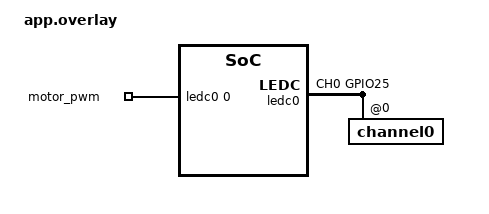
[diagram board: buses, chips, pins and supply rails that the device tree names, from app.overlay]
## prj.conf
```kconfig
CONFIG_PWM=y
CONFIG_GPIO=y
CONFIG_GPIO_ESP32=y        #interrupciones en ESP32
CONFIG_FPU=y
CONFIG_FPU_SHARING=y
CONFIG_JSON_LIBRARY=y	  #Json
CONFIG_UART_INTERRUPT_DRIVEN=y
```

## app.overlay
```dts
#include <zephyr/dt-bindings/pinctrl/esp32-pinctrl.h>

/ {
    aliases {
        pwm-led0 = &motor_pwm;
    };

    pwmleds {
        compatible = "pwm-leds";
        motor_pwm: motor_pwm {
            pwms = <&ledc0 0 100000 PWM_POLARITY_NORMAL>;
        };
    };
};

&pinctrl {
    ledc0_default: ledc0_default {
        group1 {
            /* Cambia GPIO25 al pin que usa tu motor */
            pinmux = <LEDC_CH0_GPIO25>;
            output-enable;
        };
    };
};

&ledc0 {
    status = "okay";
    pinctrl-0 = <&ledc0_default>;
    pinctrl-names = "default";

    #address-cells = <1>;
    #size-cells = <0>;

    /* ← Esto es lo que faltaba */
    channel0@0 {
        reg = <0x0>;
        timer = <0>;
    };
};
```

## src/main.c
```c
#include <zephyr/kernel.h>
#include <zephyr/device.h>
#include <zephyr/drivers/gpio.h>
#include <zephyr/drivers/pwm.h>
#include <zephyr/sys/printk.h>
#include <zephyr/sys/atomic.h>
#include <zephyr/data/json.h>
#include <zephyr/drivers/uart.h>
#include <stdint.h>
#include <math.h>
#include <stdlib.h>   // ← para atof()

// Pines
#define IN1 19 
#define IN2 18
#define PWM_PIN 25
#define ENCODER_A 26
#define ENCODER_B 27
#define PIN_SENSOR 4


// Alias para el PWM
#define PWM_NODE DT_ALIAS(pwm_led0)
static const struct pwm_dt_spec pwm_led = PWM_DT_SPEC_GET(PWM_NODE);

// Variables
atomic_t theta = ATOMIC_INIT(0);
K_MUTEX_DEFINE(pid_mutex); // Mutex para proteger acceso a Kp, Ki, Kd, sp, mode y button
int32_t sp = 30;

float pv = 0.0;
float cv = 0.0, cv1 = 0.0;
float error = 0.0, error1 = 0.0, error2 = 0.0;

float Kp = 2.0;
float Ki = 3.0;
float Kd = 0.0;

int mode = 0;   // 1: Velocidad, 0: Posición
int button = 0; // 0: Restart, 1: Start, 2: Stop

//Tiempo de muestreo
#define Tm_ms 5
#define Tm (Tm_ms / 1000.0f) //Segundos

// Dispositivos
const struct device *gpio_dev;

// Configuración
#define STACK_SIZE 2048

// Prioridades (menor número = mayor prioridad)
#define PRIORITY0 1
#define PRIORITY1 2
#define PRIORITY2 3

// Stacks
K_THREAD_STACK_DEFINE(PID_stack, STACK_SIZE);
K_THREAD_STACK_DEFINE(COMjson_stack, STACK_SIZE);
K_THREAD_STACK_DEFINE(SENSOR_stack, STACK_SIZE);

// Threads
struct k_thread pid_thread;
struct k_thread comjson_thread;
struct k_thread sensor_thread;

// Json
struct pid_config {
    const char *kp;
    const char *ki;
    const char *kd;
    const char *sp;
    int mode;
    int button;
};

static const struct json_obj_descr pid_descr[] = {
    JSON_OBJ_DESCR_PRIM(struct pid_config, kp, JSON_TOK_STRING),
    JSON_OBJ_DESCR_PRIM(struct pid_config, ki, JSON_TOK_STRING),
    JSON_OBJ_DESCR_PRIM(struct pid_config, kd, JSON_TOK_STRING),
    JSON_OBJ_DESCR_PRIM(struct pid_config, sp, JSON_TOK_STRING),
    JSON_OBJ_DESCR_PRIM(struct pid_config, mode, JSON_TOK_NUMBER),
    JSON_OBJ_DESCR_PRIM(struct pid_config, button, JSON_TOK_NUMBER),
};

#define UART_BUF_SIZE 128

static char uart_buf[UART_BUF_SIZE];
static int uart_idx = 0;
static volatile bool json_ready = false;
static char json_buffer[UART_BUF_SIZE];

// ================= ENCODER =================
static struct gpio_callback cb_encoderA;
static struct gpio_callback cb_encoderB;

// Equivalente a interrupcion1()
void encoder_isrA(const struct device *dev, struct gpio_callback *cb, uint32_t pins)
{
    int a = gpio_pin_get(dev, ENCODER_A);
    int b = gpio_pin_get(dev, ENCODER_B);

    if (a != b) {
        atomic_inc(&theta);
    } else {
        atomic_dec(&theta);
    }
}

// Equivalente a interrupcion2()
void encoder_isrB(const struct device *dev, struct gpio_callback *cb, uint32_t pins)
{
    int a = gpio_pin_get(dev, ENCODER_A);
    int b = gpio_pin_get(dev, ENCODER_B);

    if (a == b) {
        atomic_inc(&theta);
    } else {
        atomic_dec(&theta);
    }
}

//Callback de UART para recibir datos
void uart_cb(const struct device *dev, void *user_data)
{
    if (!uart_irq_update(dev)) return;
    if (!uart_irq_rx_ready(dev)) return;

    uint8_t c;
    while (uart_fifo_read(dev, &c, 1) == 1) {
        if (c == '\n' || c == '\r') {
            uart_buf[uart_idx] = '\0';

            if (uart_idx > 0 && uart_buf[0] == '{') {
                memcpy(json_buffer, uart_buf, uart_idx + 1);
                json_ready = true;
            }
            uart_idx = 0;
        } else {
            if (uart_idx < UART_BUF_SIZE - 1) {
                uart_buf[uart_idx++] = c;
            } else {
                uart_idx = 0; // overflow
            }
        }
    }
}

//Deserialización JSON
void deserializar_json(char *json)
{
    struct pid_config cfg;

    int ret = json_obj_parse(
        json,
        strlen(json),
        pid_descr,
        ARRAY_SIZE(pid_descr),
        &cfg
    );

    if (ret < 0) {
        /*printk("Error al parsear JSON: %d\n", ret);*/
        return;
    }

    // 🔒 PROTEGER ESCRITURA
    k_mutex_lock(&pid_mutex, K_FOREVER);

    Kp = atof(cfg.kp);
    Ki = atof(cfg.ki);
    Kd = atof(cfg.kd);
    sp = (int32_t)atof(cfg.sp);
    mode = cfg.mode;
    button = cfg.button;

    k_mutex_unlock(&pid_mutex);

    /*printk("JSON OK - Kp:%.2f Ki:%.2f Kd:%.2f sp:%d mode:%d button:%d\n",
           (double)Kp, (double)Ki, (double)Kd, sp, mode, button);*/
}

// 🔵 Prioridad 1 → PID
void PID_thread(void *a, void *b, void *c)
{
    int64_t next = k_uptime_get();

    while(1){

        //TM
        next += Tm_ms;

         // 🔒 LEER VARIABLES SEGURAS
        float kp, ki, kd;
        int32_t sp_local;
        int mode_local, button_local;

        k_mutex_lock(&pid_mutex, K_FOREVER);

        kp = Kp;
        ki = Ki;
        kd = Kd;
        mode_local = mode;
        button_local = button;
        sp_local = sp;

        k_mutex_unlock(&pid_mutex);

        // Planta
        int32_t theta_cnt = atomic_get(&theta);

        if (mode_local == 1) { // Velocidad
            pv = theta_cnt * 2.416; //Conversión de ppr a RPM}
        }
        else { // Posición
            pv = theta_cnt * (360.0f / 2483.0f);
        }
        
        error = sp_local - pv;

        // PID
        cv = cv1 + (kp + kd / Tm) * error + (-kp + ki * Tm - 2.0f * kd / Tm) * error1 + (kd / Tm) * error2;
        
        // Saturación
        float cv_sat = cv;
        if (cv_sat > 500.0f)  cv_sat = 500.0f;
        if (cv_sat < -500.0f) cv_sat = -500.0f;

        //Anti-windup por back-calculation
        float k_aw = 0.05f; // Ganancia anti-windup (ajustable)
        cv1 = cv_sat + k_aw * (cv_sat - cv);
        cv = cv_sat;

       /* Anti-windup por congelamiento (clamping)
        if ((cv > 500.0f && error > 0) || (cv < -500.0f && error < 0)) {
            cv = cv1;      //  congela 
        }
        else {
            cv = cvsat;   //  aplica saturación
        }*/
        
        // Actualizar variables
        //cv1 = cv;
        error2 = error1;
        error1 = error;

        //Zona muerta         
        if (cv > 10) {
            cv = (cv / 500.0f) * (500 - 190) + 190;
        }       
        else if (cv < -10) {
            cv = (cv / 500.0f) * (500 - 190) - 190;
        }

        //PWM
        uint32_t period = 100000; // 100 µs → 10 kHz (mejor para motor)
        float duty = fabsf(cv) / 500.0f;
        if (duty > 1.0f) duty = 1.0f;
        uint32_t pulse = (uint32_t)(duty * period);

        if (button_local == 1) { // Start
            if(mode_local == 0){
                // Banda muerta en error — si está cerca del setpoint, para el motor
                if (fabsf(error) < 1.0f) {  // 1 grado de tolerancia
                    pwm_set_dt(&pwm_led, period, 0);
                    gpio_pin_set(gpio_dev, IN1, 0);
                    gpio_pin_set(gpio_dev, IN2, 0);
                    cv = 0;
                    //cv1 = 0;
                }
                //Dirección
                else {
                    pwm_set_dt(&pwm_led, period, pulse);

                    if (cv > 0) {
                        gpio_pin_set(gpio_dev, IN1, 0);
                        gpio_pin_set(gpio_dev, IN2, 1);
                    }
                    else if (cv < 0) {
                        gpio_pin_set(gpio_dev, IN1, 1);
                        gpio_pin_set(gpio_dev, IN2, 0);
                    }
                }
            }

            else { 
                pwm_set_dt(&pwm_led, period, pulse);

                if (cv > 0) {
                    gpio_pin_set(gpio_dev, IN1, 0);
                    gpio_pin_set(gpio_dev, IN2, 1);
                }
                else if (cv < 0) {
                    gpio_pin_set(gpio_dev, IN1, 1);
                    gpio_pin_set(gpio_dev, IN2, 0);
                }    
            }
        }
        
        else if (button_local == 2) { // Stop
            pwm_set_dt(&pwm_led, period, 0);
            gpio_pin_set(gpio_dev, IN1, 0);
            gpio_pin_set(gpio_dev, IN2, 0);
            cv = 0;
            cv1 = 0;
        }
        else if (button_local == 0) { // Restart
            uint32_t pulse_restart = (uint32_t)(0.5f * period); // 50% duty
            pwm_set_dt(&pwm_led, period, pulse_restart); 
            gpio_pin_set(gpio_dev, IN1, 1);
            gpio_pin_set(gpio_dev, IN2, 0);
            cv=0;
            cv1=0;
            error1 = 0;
            error2 = 0;
        }

        if (mode_local == 1) { // Velocidad
            theta_cnt = 0; // Reinicia el conteo para evitar overflow
            atomic_set(&theta, theta_cnt);
        }

        int64_t now = k_uptime_get();
        int64_t wait = next - now;

        if (wait > 0) {
            k_sleep(K_MSEC(wait));
        }
    }
}

// 🔵 Prioridad 2 → Comunicación JSON 
void COMjson_thread(void *a, void *b, void *c)
{
    const struct device *uart = DEVICE_DT_GET(DT_CHOSEN(zephyr_console));

    // Configura el callback y habilita interrupciones RX
    uart_irq_callback_set(uart, uart_cb);
    uart_irq_rx_enable(uart);

    while (1) {
        if (json_ready) {
            json_ready = false;
            deserializar_json(json_buffer);
        }
        k_sleep(K_MSEC(10));
    }
}

// 🔵 Prioridad 3 → Sensor para RESTART
void SENSOR_thread(void *a, void *b, void *c)
{
    while(1) {
        // Lee el sensor externo
        int sensor = gpio_pin_get(gpio_dev, PIN_SENSOR);

        if (sensor == 1) {  // llegó al punto inicial
            k_mutex_lock(&pid_mutex, K_FOREVER);
            button = 2;  // cambia a Stop automáticamente
            k_mutex_unlock(&pid_mutex);
        }

        k_sleep(K_MSEC(100));  // revisa cada 100ms
    }
}

// ================= MAIN =================
int main(void)
{   
    gpio_dev = DEVICE_DT_GET(DT_NODELABEL(gpio0));

    // Configurar pines
    gpio_pin_configure(gpio_dev, IN1, GPIO_OUTPUT);
    gpio_pin_configure(gpio_dev, IN2, GPIO_OUTPUT);

    gpio_pin_configure(gpio_dev, ENCODER_A, GPIO_INPUT | GPIO_PULL_UP);
    gpio_pin_configure(gpio_dev, ENCODER_B, GPIO_INPUT | GPIO_PULL_UP);

    // Interrupciones encoder
    gpio_pin_interrupt_configure(gpio_dev, ENCODER_A, GPIO_INT_EDGE_BOTH);
    gpio_pin_interrupt_configure(gpio_dev, ENCODER_B, GPIO_INT_EDGE_BOTH);
    gpio_init_callback(&cb_encoderA, encoder_isrA, BIT(ENCODER_A));
    gpio_init_callback(&cb_encoderB, encoder_isrB, BIT(ENCODER_B));
    gpio_add_callback(gpio_dev, &cb_encoderA);
    gpio_add_callback(gpio_dev, &cb_encoderB);

    // Crear hilos
    k_thread_create(&pid_thread, PID_stack, STACK_SIZE,
                    PID_thread, NULL, NULL, NULL,
                    PRIORITY0, 0, K_NO_WAIT);

    k_thread_create(&comjson_thread, COMjson_stack, STACK_SIZE,
                    COMjson_thread, NULL, NULL, NULL,
                    PRIORITY1, 0, K_NO_WAIT);

    k_thread_create(&sensor_thread, SENSOR_stack, STACK_SIZE,
                    SENSOR_thread, NULL, NULL, NULL,
                    PRIORITY2, 0, K_NO_WAIT);

    // Debug
    while(1) {

    printk("%.2f\n", pv);

    k_sleep(K_MSEC(500));
    }

    return 0;
}
```
